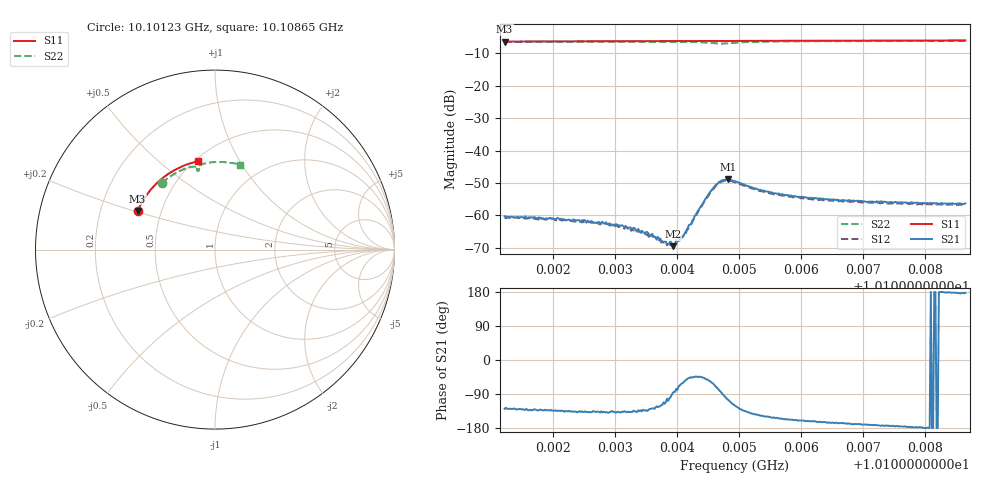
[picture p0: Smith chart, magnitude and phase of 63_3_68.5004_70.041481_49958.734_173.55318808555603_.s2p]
#  HZ  S  RI  R  50.00
! Rohde & Schwarz Vector Network Analyzer
! Rohde-Schwarz,ZNB20-2Port,1311601062101988,3.16
! Created: UTC 3/20/2024, 5:06:35 PM
! freq[Hz]  re:S11  im:S11  re:S21  im:S21  re:S12  im:S12  re:S22  im:S22
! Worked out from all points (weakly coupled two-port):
!   401 points, 10.10123 GHz to 10.10865 GHz, reference 50 ohm
!   highest |S21| = -48.87 dB at 10.10483 GHz (marker M1); lowest = -69.5 dB at 10.10394 GHz (marker M2)
!   lowest |S11| = -6.3 dB at 10.10123 GHz (marker M3), VSWR 2.86, Z = 18.3 + j10.3 ohm
!   |S11| at or under -10 dB: nowhere
!   |S22| runs from -7.0 to -6.1 dB; largest |S21 - S12| = 0.00037
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1.0101226e10  -0.4315 0.2158  -0.000612 -0.000752  -0.000534 -0.000772  -0.2952 0.3719
1.0101987e10  -0.4108 0.2574  -0.000612 -0.000651  -0.000572 -0.000685  -0.2565 0.4024
1.010247e10  -0.3958 0.2827  -0.000596 -0.00059  -0.000523 -0.000573  -0.2299 0.4196
1.010286e10  -0.3825 0.3024  -0.000585 -0.000518  -0.000506 -0.000538  -0.2075 0.4322
1.0103212e10  -0.3698 0.3194  -0.000461 -0.000436  -0.000429 -0.000447  -0.1863 0.4426
1.0103621e10  -0.3539 0.3385  -0.000293 -0.000382  -0.00025 -0.000396  -0.16 0.4532
1.0103714e10  -0.3502 0.3428  -0.000224 -0.000349  -0.000185 -0.000397  -0.1537 0.4552
1.0103844e10  -0.3449 0.3486  -7.22e-05 -0.000337  -5.97e-05 -0.000347  -0.1447 0.458
1.0103937e10  -0.3411 0.3526  1.75e-05 -0.000335  1.56e-05 -0.000358  -0.1379 0.4594
1.0103992e10  -0.3388 0.3552  9.91e-05 -0.000406  0.000102 -0.000349  -0.1337 0.4604
1.0104085e10  -0.3347 0.3592  0.000217 -0.000401  0.000262 -0.000391  -0.1265 0.4615
1.0104178e10  -0.3309 0.3632  0.000423 -0.000483  0.000425 -0.00043  -0.1189 0.4621
1.0104475e10  -0.3178 0.3756  0.00117 -0.00145  0.00127 -0.00128  -0.0939 0.4551
1.0104605e10  -0.312 0.3808  0.00114 -0.00253  0.0013 -0.0023  -0.0887 0.4449
1.0104716e10  -0.307 0.3852  0.000279 -0.00341  0.000568 -0.00323  -0.0935 0.4384
1.0104828e10  -0.3019 0.3897  -0.000929 -0.00348  -0.000604 -0.00339  -0.1003 0.4421
1.0104939e10  -0.2967 0.3939  -0.0017 -0.0029  -0.00139 -0.00291  -0.1009 0.4513
1.0105273e10  -0.2809 0.4067  -0.00209 -0.00155  -0.00188 -0.00163  -0.0813 0.4712
1.0105459e10  -0.2718 0.4133  -0.002 -0.00119  -0.0018 -0.00129  -0.0679 0.4768
1.0106183e10  -0.2352 0.4372  -0.00175 -0.000579  -0.00159 -0.000716  -0.0179 0.4865
1.0107427e10  -0.1675 0.4702  -0.00158 -0.000193  -0.00148 -0.000269  0.0637 0.4866
1.0108653e10  -0.0967 0.4919  -0.00153 7.32e-05  -0.00145 -5.44e-05  0.141 0.4729
